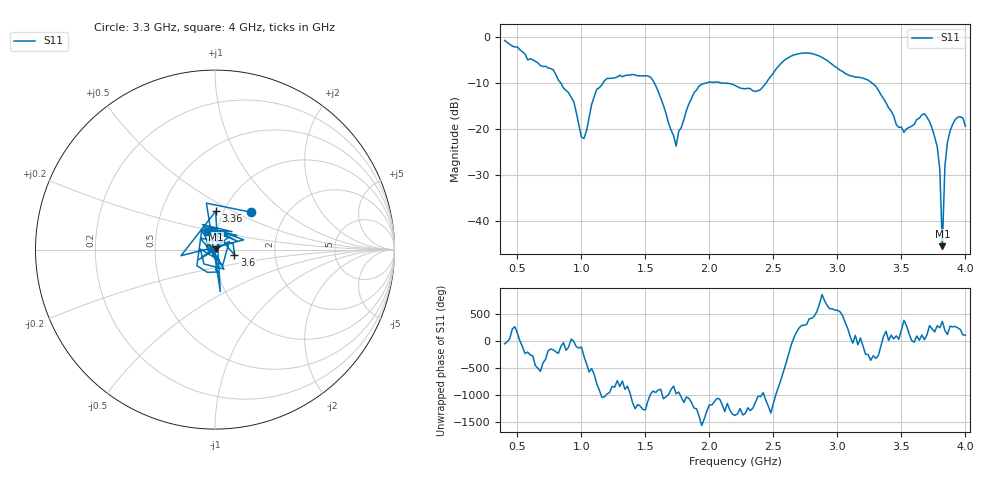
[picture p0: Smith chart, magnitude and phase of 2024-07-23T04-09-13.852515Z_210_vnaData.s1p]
!Created with skrf (http://scikit-rf.org).
# Hz S RI R 50.0
!freq ReS11 ImS11
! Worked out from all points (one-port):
!   181 points, 400 MHz to 4 GHz, reference 50 ohm
!   lowest |S11| = -45.6 dB at 3.82 GHz (marker M1), VSWR 1.01, Z = 50.5 + j0.104 ohm
!   |S11| at or under -10 dB: 1.569 GHz to 1.983 GHz (413.8 MHz wide, 23.3 % of centre); 2.09 GHz to 2.444 GHz (353.4 MHz wide, 15.6 % of centre); 3.268 GHz to end of sweep (the widest 3 of 4)
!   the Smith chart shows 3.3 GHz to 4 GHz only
!   S11 on the Smith chart (normalised r, x): 3.3 GHz: 1.35, +0.61; 3.36 GHz: 0.92, +0.41; 3.6 GHz: 1.24, -0.07; 4 GHz: 0.90, +0.18
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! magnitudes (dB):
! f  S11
! 400 MHz  -0.8
! 780 MHz  -7.2
! 860 MHz  -11.1
! 940 MHz  -14.1
! 1.02 GHz  -22.1
! 1.12 GHz  -11.4
! 1.3 GHz  -8.4
! 1.54 GHz  -8.8
! 1.74 GHz  -23.8
! 1.76 GHz  -20.6
! 1.92 GHz  -10.7
! 2.2 GHz  -10.6
! 2.4 GHz  -11.5
! 2.66 GHz  -3.9
! 3.1 GHz  -8.5
! 3.3 GHz  -10.7
! 3.36 GHz  -13.4
! 3.46 GHz  -19.1
! 3.56 GHz  -19.7
! 3.6 GHz  -19.0
! 3.68 GHz  -16.7
! 3.78 GHz  -23.9
! 3.8 GHz  -28.7
! 3.82 GHz  -45.6
! 3.84 GHz  -28.1
! 3.86 GHz  -22.9
! 3.94 GHz  -17.5
! 4 GHz  -19.4
